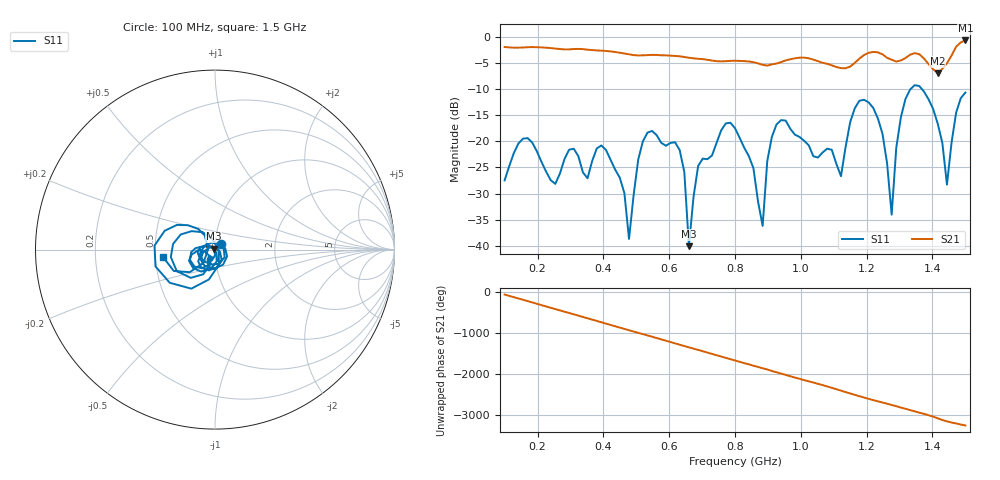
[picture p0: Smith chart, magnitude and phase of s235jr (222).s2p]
! NanoVNA-App
! Date: 2025-09-25 15:05:53
! Start: 100MHz Stop: 1,5GHz Points: 101
! S-Parameter data: F S11 S21 S12 S22
# Hz S RI R 50
!  Frequency  S11_Real  S11_Imag  S21_Real  S21_Imag  S12_Real  S12_Imag  S22_Real  S22_Imag
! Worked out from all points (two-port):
!   101 points, 100 MHz to 1.5 GHz, reference 50 ohm
!   highest |S21| = -0.71 dB at 1.5 GHz (marker M1); lowest = -7.0 dB at 1.416 GHz (marker M2)
!   |S21| within 3 dB of the highest: start of sweep to 625.8 MHz; 1.188 GHz to 1.255 GHz (67.8 MHz wide, 5.55 % of centre) (the widest 2 of 4)
!   lowest |S11| = -40.1 dB at 660 MHz (marker M3), VSWR 1.02, Z = 49.2 + j0.556 ohm
!   |S11| at or under -10 dB: start of sweep to 1.334 GHz; 1.368 GHz to end of sweep
!   S12 and S22 are empty: the file has one direction only
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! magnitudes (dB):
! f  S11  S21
! 100 MHz  -27.5  -2.0
! 170 MHz  -19.4  -2.0
! 338 MHz  -25.9  -2.4
! 408 MHz  -21.7  -2.7
! 478 MHz  -38.7  -3.4
! 520 MHz  -20.0  -3.5
! 576 MHz  -20.3  -3.5
! 632 MHz  -21.7  -3.7
! 660 MHz  -40.1  -4.0
! 688 MHz  -24.7  -4.2
! 800 MHz  -17.5  -4.6
! 884 MHz  -36.2  -5.4
! 926 MHz  -16.8  -5.1
! 1.038 GHz  -22.8  -4.4
! 1.122 GHz  -26.7  -6.0
! 1.206 GHz  -12.5  -3.1
! 1.248 GHz  -18.5  -3.3
! 1.276 GHz  -34.0  -4.4
! 1.332 GHz  -10.1  -3.4
! 1.416 GHz  -16.6  -7.0
! 1.444 GHz  -28.3  -5.1
! 1.5 GHz  -10.7  -0.7
